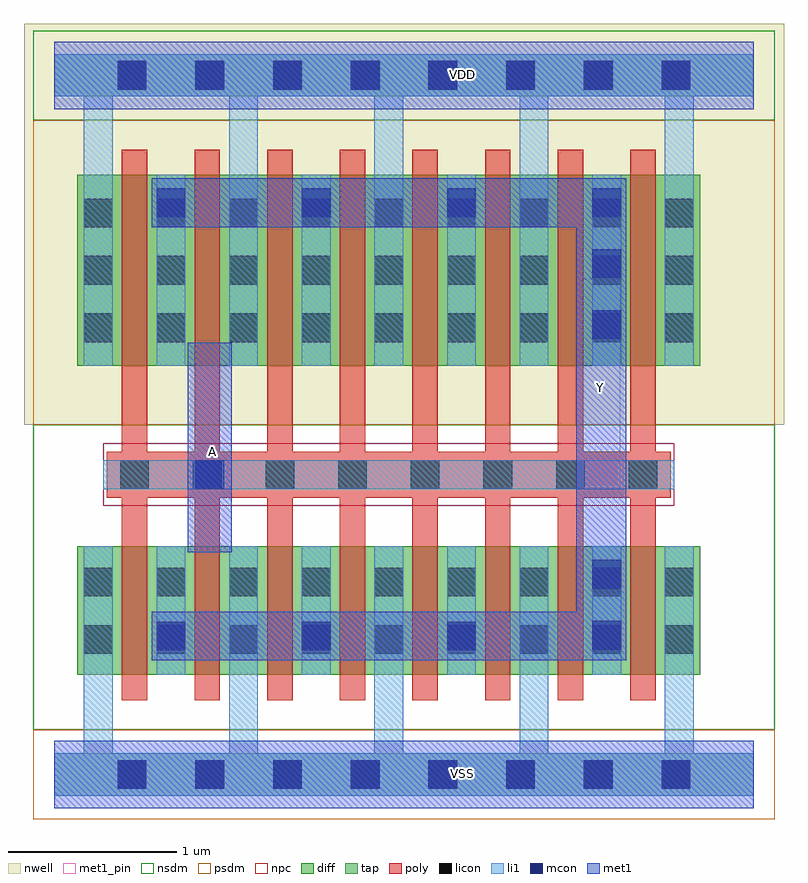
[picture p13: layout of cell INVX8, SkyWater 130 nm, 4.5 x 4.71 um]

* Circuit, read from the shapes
.subckt INVX8 A VDD VSS Y
XM1 Y A VSS VSS sky130_fd_pr__nfet_01v8 w=0.76 l=0.15 m=8
XM2 Y A VDD VDD sky130_fd_pr__pfet_01v8 w=1.13 l=0.15 m=8
.ends

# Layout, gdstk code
from math import pi, radians
import gdstk
lib = gdstk.Library(unit=1e-6, precision=1e-09)
def R(c, l, rs):  # rectangles x0, y0, x1, y1
    for r in rs: c.add(gdstk.rectangle(r[:2], r[2:], *l))
def A(c, l, x, y, w, h, nx, ny, dx, dy):  # array of equal rectangles
    R(c, l, [(x+i*dx, y+j*dy, x+i*dx+w, y+j*dy+h) for i in range(nx) for j in range(ny)])
nwell = (64, 20)
diff = (65, 20)
tap = (65, 44)
poly = (66, 20)
licon = (66, 44)
li1 = (67, 20)
mcon = (67, 44)
met1_pin = (68, 16)
met1 = (68, 20)
nsdm = (93, 44)
psdm = (94, 20)
npc = (95, 20)

l1m1_c_cdns_750710154091 = lib.new_cell('L1M1_C_CDNS_750710154091')
R(l1m1_c_cdns_750710154091, li1, [(-0.085,-0.165,0.085,0.165)])
R(l1m1_c_cdns_750710154091, mcon, [(-0.085,-0.085,0.085,0.085)])
R(l1m1_c_cdns_750710154091, met1, [(-0.115,-0.145,0.115,0.145)])

l1m1_c_cdns_750710154090 = lib.new_cell('L1M1_C_CDNS_750710154090')
R(l1m1_c_cdns_750710154090, li1, [(-0.165,-0.085,0.165,0.085)])
R(l1m1_c_cdns_750710154090, mcon, [(-0.085,-0.085,0.085,0.085)])
R(l1m1_c_cdns_750710154090, met1, [(-0.115,-0.145,0.115,0.145)])

l1m1_c_cdns_750710154094 = lib.new_cell('L1M1_C_CDNS_750710154094')
R(l1m1_c_cdns_750710154094, li1, [(-0.085,-0.345,0.085,0.345)])
R(l1m1_c_cdns_750710154094, mcon, [(-0.085,-0.265,0.085,-0.095), (-0.085,0.095,0.085,0.265)])
R(l1m1_c_cdns_750710154094, met1, [(-0.115,-0.325,0.115,0.325)])

pyl1con_c_cdns_750710154 = lib.new_cell('PYL1CON_C_CDNS_750710154092')
R(pyl1con_c_cdns_750710154, poly, [(-0.135,-0.165,0.135,0.165)])
R(pyl1con_c_cdns_750710154, licon, [(-0.085,-0.085,0.085,0.085)])
R(pyl1con_c_cdns_750710154, npc, [(-0.185,-0.185,0.185,0.185)])

l1m1_c_cdns_750710154098 = lib.new_cell('L1M1_C_CDNS_750710154098')
R(l1m1_c_cdns_750710154098, li1, [(-0.085,-0.525,0.085,0.525)])
A(l1m1_c_cdns_750710154098, mcon, -0.085, -0.445, 0.17, 0.17, 1, 3, 0, 0.36)
R(l1m1_c_cdns_750710154098, met1, [(-0.115,-0.505,0.115,0.505)])

invx8 = lib.new_cell('INVX8')
R(invx8, nwell, [(-0.18,2.07,4.32,4.305), (-0.045,2.24,4.005,3.73), (-0.18,3.875,4.32,4.445)])
A(invx8, diff, 0.4, 0.59, 0.15, 0.76, 8, 1, 0.43, 0)
A(invx8, diff, 0.55, 0.59, 0.28, 0.76, 7, 1, 0.43, 0)
A(invx8, diff, 0.4, 2.42, 0.15, 1.13, 8, 1, 0.43, 0)
A(invx8, diff, 0.55, 2.42, 0.28, 1.13, 7, 1, 0.43, 0)
R(invx8, diff, [(0.135,0.59,0.4,1.35), (3.56,0.59,3.825,1.35), (0.135,2.42,0.4,3.55), (3.56,2.42,3.825,3.55)])
A(invx8, poly, 0.4, 0.44, 0.15, 0.055, 8, 2, 0.43, 1.005)
A(invx8, poly, 0.4, 0.495, 0.15, 0.095, 8, 2, 0.43, 0.855)
A(invx8, poly, 0.4, 0.59, 0.15, 0.76, 8, 1, 0.43, 0)
A(invx8, poly, 0.4, 2.27, 0.15, 0.055, 8, 2, 0.43, 1.375)
A(invx8, poly, 0.4, 2.325, 0.15, 0.095, 8, 2, 0.43, 1.225)
A(invx8, poly, 0.4, 2.42, 0.15, 1.13, 8, 1, 0.43, 0)
A(invx8, licon, 0.375, -0.085, 0.17, 0.17, 8, 2, 0.46, 4.14)
A(invx8, licon, 0.175, 0.715, 0.17, 0.17, 9, 2, 0.43, 0.34)
A(invx8, licon, 0.175, 2.56, 0.17, 0.17, 9, 3, 0.43, 0.34)
A(invx8, li1, 0.175, 0.59, 0.17, 0.76, 9, 1, 0.43, 0)
A(invx8, li1, 0.175, 2.42, 0.17, 1.13, 9, 1, 0.43, 0)
A(invx8, mcon, 0.375, -0.085, 0.17, 0.17, 8, 2, 0.46, 4.14)
R(invx8, met1_pin, [(0.79,1.315,1.05,2.555), (3.09,1.695,3.35,2.935)])
R(invx8, met1, [(3.095,0.675,3.385,3.53)])
R(invx8, nsdm, [(-0.125,0.265,4.265,2.07), (-0.005,0.46,3.965,1.48), (-0.125,3.875,4.265,4.405), (-0.125,3.93,4.265,4.35)])
R(invx8, psdm, [(-0.125,-0.265,4.265,0.265), (-0.125,-0.21,4.265,0.21), (-0.125,2.07,4.265,3.875), (-0.005,2.29,3.965,3.68)])
R(invx8, npc, [(0.29,1.59,3.67,1.96)])
invx8.add(gdstk.FlexPath([(3.485,1.775),(3.485,1.44)], 0.15, ends=(0.135, 0), simple_path=True, layer=66, datatype=20))  # poly
invx8.add(gdstk.FlexPath([(2.625,1.775),(2.625,1.44)], 0.15, ends=(0.135, 0), simple_path=True, layer=66, datatype=20))  # poly
invx8.add(gdstk.FlexPath([(3.055,1.775),(3.055,1.44)], 0.15, ends=(0.135, 0), simple_path=True, layer=66, datatype=20))  # poly
invx8.add(gdstk.FlexPath([(0.475,1.775),(0.475,1.44)], 0.15, ends=(0.135, 0), simple_path=True, layer=66, datatype=20))  # poly
invx8.add(gdstk.FlexPath([(0.905,1.775),(0.905,1.44)], 0.15, ends=(0.135, 0), simple_path=True, layer=66, datatype=20))  # poly
invx8.add(gdstk.FlexPath([(2.195,1.775),(2.195,1.44)], 0.15, ends=(0.135, 0), simple_path=True, layer=66, datatype=20))  # poly
invx8.add(gdstk.FlexPath([(1.335,1.775),(1.335,1.44)], 0.15, ends=(0.135, 0), simple_path=True, layer=66, datatype=20))  # poly
invx8.add(gdstk.FlexPath([(1.765,1.775),(1.765,1.44)], 0.15, ends=(0.135, 0), simple_path=True, layer=66, datatype=20))  # poly
invx8.add(gdstk.FlexPath([(0.31,1.775),(3.61,1.775)], 0.27, ends="flush", simple_path=True, layer=66, datatype=20))  # poly
invx8.add(gdstk.FlexPath([(3.485,2.325),(3.485,1.775)], 0.15, ends=(0, 0.135), simple_path=True, layer=66, datatype=20))  # poly
invx8.add(gdstk.FlexPath([(3.055,2.325),(3.055,1.775)], 0.15, ends=(0, 0.135), simple_path=True, layer=66, datatype=20))  # poly
invx8.add(gdstk.FlexPath([(2.625,2.325),(2.625,1.775)], 0.15, ends=(0, 0.135), simple_path=True, layer=66, datatype=20))  # poly
invx8.add(gdstk.FlexPath([(2.195,2.325),(2.195,1.775)], 0.15, ends=(0, 0.135), simple_path=True, layer=66, datatype=20))  # poly
invx8.add(gdstk.FlexPath([(1.765,2.325),(1.765,1.775)], 0.15, ends=(0, 0.135), simple_path=True, layer=66, datatype=20))  # poly
invx8.add(gdstk.FlexPath([(1.335,2.325),(1.335,1.775)], 0.15, ends=(0, 0.135), simple_path=True, layer=66, datatype=20))  # poly
invx8.add(gdstk.FlexPath([(0.905,2.325),(0.905,1.775)], 0.15, ends=(0, 0.135), simple_path=True, layer=66, datatype=20))  # poly
invx8.add(gdstk.FlexPath([(0.475,2.325),(0.475,1.775)], 0.15, ends=(0, 0.135), simple_path=True, layer=66, datatype=20))  # poly
invx8.add(gdstk.FlexPath([(2.47,0),(3.42,0)], 0.25, ends=(0.085, 0.085), simple_path=True, layer=67, datatype=20))  # li1
invx8.add(gdstk.FlexPath([(0,0),(0.69,0)], 0.25, ends=(0, 0.085), simple_path=True, layer=67, datatype=20))  # li1
invx8.add(gdstk.FlexPath([(3.42,0),(4.055,0)], 0.25, ends=(0.085, 0.085), simple_path=True, layer=67, datatype=20))  # li1
invx8.add(gdstk.FlexPath([(0.69,0),(2.47,0)], 0.25, ends=(0.085, 0.085), simple_path=True, layer=67, datatype=20))  # li1
invx8.add(gdstk.FlexPath([(4.055,0),(4.14,0)], 0.25, ends=(0.085, 0), simple_path=True, layer=67, datatype=20))  # li1
invx8.add(gdstk.FlexPath([(3.7,0.59),(3.7,0)], 0.17, ends="flush", simple_path=True, layer=67, datatype=20))  # li1
invx8.add(gdstk.FlexPath([(2.84,0.59),(2.84,0)], 0.17, ends="flush", simple_path=True, layer=67, datatype=20))  # li1
invx8.add(gdstk.FlexPath([(1.98,0.59),(1.98,0)], 0.17, ends="flush", simple_path=True, layer=67, datatype=20))  # li1
invx8.add(gdstk.FlexPath([(1.12,0.59),(1.12,0)], 0.17, ends="flush", simple_path=True, layer=67, datatype=20))  # li1
invx8.add(gdstk.FlexPath([(0.29,1.775),(3.67,1.775)], 0.17, ends="flush", simple_path=True, layer=67, datatype=20))  # li1
invx8.add(gdstk.FlexPath([(0.26,0.59),(0.26,0)], 0.17, ends="flush", simple_path=True, layer=67, datatype=20))  # li1
invx8.add(gdstk.FlexPath([(3.7,3.55),(3.7,4.14)], 0.17, ends="flush", simple_path=True, layer=67, datatype=20))  # li1
invx8.add(gdstk.FlexPath([(2.84,3.55),(2.84,4.14)], 0.17, ends="flush", simple_path=True, layer=67, datatype=20))  # li1
invx8.add(gdstk.FlexPath([(1.98,3.55),(1.98,4.14)], 0.17, ends="flush", simple_path=True, layer=67, datatype=20))  # li1
invx8.add(gdstk.FlexPath([(1.12,3.55),(1.12,4.14)], 0.17, ends="flush", simple_path=True, layer=67, datatype=20))  # li1
invx8.add(gdstk.FlexPath([(0.26,3.55),(0.26,4.14)], 0.17, ends="flush", simple_path=True, layer=67, datatype=20))  # li1
invx8.add(gdstk.FlexPath([(4.055,4.14),(4.14,4.14)], 0.25, ends=(0.085, 0), simple_path=True, layer=67, datatype=20))  # li1
invx8.add(gdstk.FlexPath([(0.69,4.14),(2.47,4.14)], 0.25, ends=(0.085, 0.085), simple_path=True, layer=67, datatype=20))  # li1
invx8.add(gdstk.FlexPath([(3.42,4.14),(4.055,4.14)], 0.25, ends=(0.085, 0.085), simple_path=True, layer=67, datatype=20))  # li1
invx8.add(gdstk.FlexPath([(0,4.14),(0.69,4.14)], 0.25, ends=(0, 0.085), simple_path=True, layer=67, datatype=20))  # li1
invx8.add(gdstk.FlexPath([(2.47,4.14),(3.42,4.14)], 0.25, ends=(0.085, 0.085), simple_path=True, layer=67, datatype=20))  # li1
invx8.add(gdstk.FlexPath([(0,4.14),(4.14,4.14)], 0.4, ends="flush", simple_path=True, layer=68, datatype=16))  # met1_pin
invx8.add(gdstk.FlexPath([(0,0),(4.14,0)], 0.4, ends="flush", simple_path=True, layer=68, datatype=16))  # met1_pin
invx8.add(gdstk.FlexPath([(0.92,1.315),(0.92,2.555)], 0.26, ends="flush", simple_path=True, layer=68, datatype=20))  # met1
invx8.add(gdstk.FlexPath([(3.22,0.675),(3.22,3.53)], 0.26, ends="flush", simple_path=True, layer=68, datatype=20))  # met1
invx8.add(gdstk.FlexPath([(3.355,3.385),(3.24,3.385)], 0.29, ends=(0, 0.145), simple_path=True, layer=68, datatype=20))  # met1
invx8.add(gdstk.FlexPath([(3.24,0.82),(0.66,0.82)], 0.29, ends=(0.145, 0), simple_path=True, layer=68, datatype=20))  # met1
invx8.add(gdstk.FlexPath([(3.355,0.82),(3.24,0.82)], 0.29, ends=(0, 0.145), simple_path=True, layer=68, datatype=20))  # met1
invx8.add(gdstk.FlexPath([(3.24,3.385),(0.66,3.385)], 0.29, ends=(0.145, 0), simple_path=True, layer=68, datatype=20))  # met1
invx8.add(gdstk.FlexPath([(0,4.14),(4.14,4.14)], 0.4, ends="flush", simple_path=True, layer=68, datatype=20))  # met1
invx8.add(gdstk.FlexPath([(0,0),(4.14,0)], 0.4, ends="flush", simple_path=True, layer=68, datatype=20))  # met1
invx8.add(gdstk.FlexPath([(0,0),(4.14,0)], 0.25, ends="flush", simple_path=True, layer=65, datatype=44))  # tap
invx8.add(gdstk.FlexPath([(0,4.14),(4.14,4.14)], 0.25, ends="flush", simple_path=True, layer=65, datatype=44))  # tap
invx8.add(gdstk.Reference(l1m1_c_cdns_750710154091, (2.41,3.385)))
invx8.add(gdstk.Reference(l1m1_c_cdns_750710154091, (0.69,0.82)))
invx8.add(gdstk.Reference(l1m1_c_cdns_750710154091, (1.55,3.385)))
invx8.add(gdstk.Reference(l1m1_c_cdns_750710154091, (2.41,0.82)))
invx8.add(gdstk.Reference(l1m1_c_cdns_750710154091, (0.69,3.385)))
invx8.add(gdstk.Reference(l1m1_c_cdns_750710154091, (1.55,0.82)))
invx8.add(gdstk.Reference(l1m1_c_cdns_750710154090, (0.92,1.775), x_reflection=True))
invx8.add(gdstk.Reference(l1m1_c_cdns_750710154094, (3.27,1.005)))
invx8.add(gdstk.Reference(pyl1con_c_cdns_750710154, (3.485,1.775), rotation=3*pi/2, x_reflection=True))
invx8.add(gdstk.Reference(pyl1con_c_cdns_750710154, (3.055,1.775), rotation=3*pi/2, x_reflection=True))
invx8.add(gdstk.Reference(pyl1con_c_cdns_750710154, (2.625,1.775), rotation=3*pi/2, x_reflection=True))
invx8.add(gdstk.Reference(pyl1con_c_cdns_750710154, (2.195,1.775), rotation=3*pi/2, x_reflection=True))
invx8.add(gdstk.Reference(pyl1con_c_cdns_750710154, (1.765,1.775), rotation=3*pi/2, x_reflection=True))
invx8.add(gdstk.Reference(pyl1con_c_cdns_750710154, (0.475,1.775), rotation=3*pi/2, x_reflection=True))
invx8.add(gdstk.Reference(pyl1con_c_cdns_750710154, (0.905,1.775), rotation=3*pi/2, x_reflection=True))
invx8.add(gdstk.Reference(pyl1con_c_cdns_750710154, (1.335,1.775), rotation=3*pi/2, x_reflection=True))
invx8.add(gdstk.Reference(l1m1_c_cdns_750710154098, (3.27,3.025)))
invx8.add(gdstk.Label('VSS', (2.415,0.005), layer=68, texttype=5))
invx8.add(gdstk.Label('A', (0.935,1.91), layer=68, texttype=5))
invx8.add(gdstk.Label('Y', (3.235,2.29), layer=68, texttype=5))
invx8.add(gdstk.Label('VDD', (2.415,4.145), layer=68, texttype=5))

lib.write_gds('INVX8.gds')
